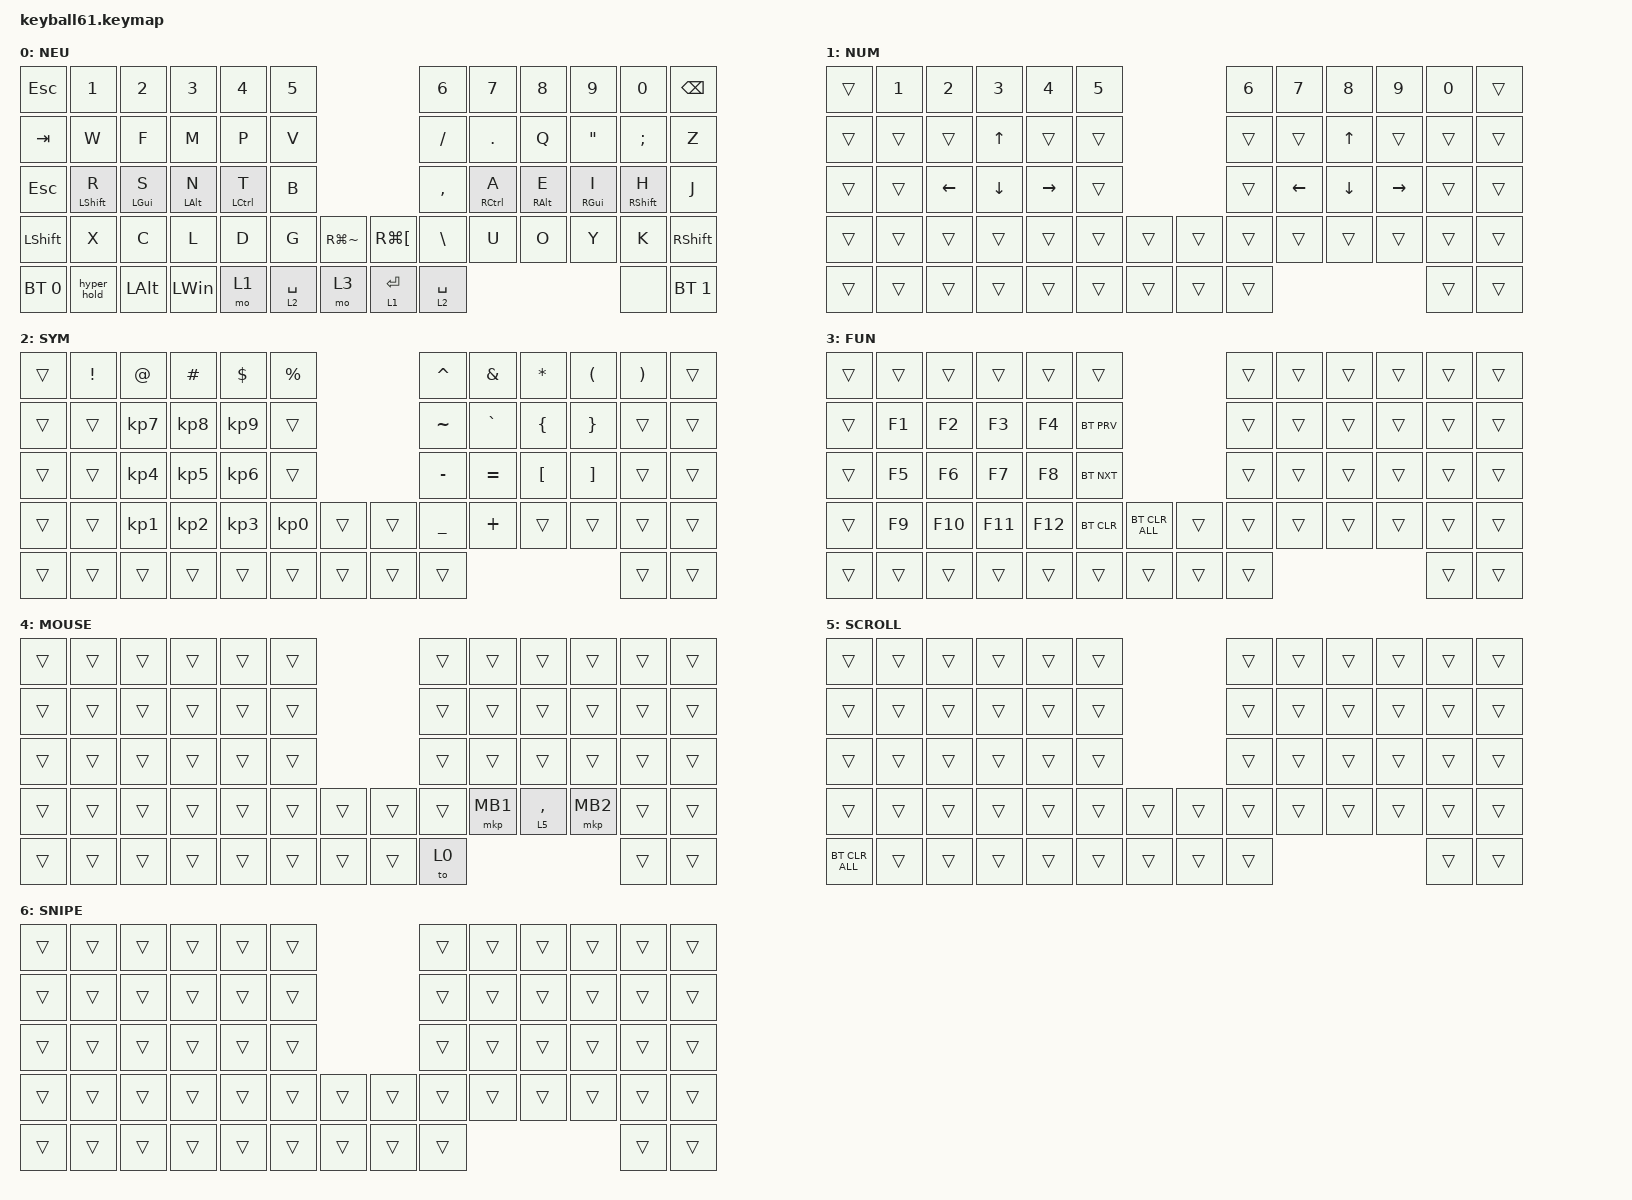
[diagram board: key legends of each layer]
#define DEFAULT 0
#define SYM     1
#define FUN     2
#define MOUSE   3 // Auto-Mouse Layer
#define SCROLL  4 // Motion Scroll Layer
#define SNIPE   5 // Snipe Mode Layer

#include <behaviors/mouse_keys.dtsi>
#include <dt-bindings/zmk/mouse.h>
#include <behaviors.dtsi>
#include <dt-bindings/zmk/bt.h>
#include <dt-bindings/zmk/keys.h>
#include <dt-bindings/zmk/pointing.h>

&lt {
    tapping-term-ms = <200>;
    flavor = "balanced";
    quick-tap-ms = <175>;
    require-prior-idle-ms = <100>;
};

&mt {
    tapping-term-ms = <200>;
    flavor = "tap-preferred";
    quick-tap-ms = <150>;
};

/ {
    combos {
        compatible = "zmk,combos";

        // NOTE: back/fwd moved off their old home-row keys — after the Neu
        // remap those positions became n+t (fwd) and a+e (back), which would
        // misfire constantly. Now on rare-bigram bottom-row pairs. Tune freely.

        fwd {
            bindings = <&kp RG(RIGHT_BRACKET)>;
            key-positions = <27 28>;   // d + g
            timeout-ms = <80>;
        };

        // Hands Down Neu keeps z and j off the main block; place them on combos.

        back {
            bindings = <&kp RG(LEFT_BRACKET)>;
            key-positions = <31 32>;
            timeout-ms = <80>;
        };

        bp {
            bindings = <&kp BACKSPACE>;
            key-positions = <32 33>;
        };

        del {
            bindings = <&kp DELETE>;
            key-positions = <27 26>;
        };
    };

    macros {
        hyper_hold: hyper_hold {
            compatible = "zmk,behavior-macro";
            #binding-cells = <0>;
            wait-ms = <0>;
            tap-ms = <0>;
            bindings =
                <&macro_press>,
                <&kp LCTRL &kp LSHFT &kp LALT &kp LGUI>,
                <&macro_pause_for_release>,
                <&macro_release>,
                <&kp LCTRL &kp LSHFT &kp LALT &kp LGUI>;
        };
    };

    behaviors {
        hmr: hmr {
            compatible = "zmk,behavior-hold-tap";
            label = "HMR";
            bindings = <&kp>, <&kp>;

            #binding-cells = <2>;
            tapping-term-ms = <280>;
            flavor = "balanced";
            quick-tap-ms = <175>;
            require-prior-idle-ms = <150>;
            hold-trigger-on-release;
            hold-trigger-key-positions = <0 1 2 3 4 5 12 13 14 15 16 17 24 25 26 27 28 29 36 37 38 39 40 41 42 50 51 52 53 54 55 56 57 58 59 60>;
        };

        hml: hml {
            compatible = "zmk,behavior-hold-tap";
            label = "HML";
            bindings = <&kp>, <&kp>;

            #binding-cells = <2>;
            tapping-term-ms = <280>;
            flavor = "balanced";
            quick-tap-ms = <175>;
            require-prior-idle-ms = <150>;
            hold-trigger-on-release;
            hold-trigger-key-positions = <6 7 8 9 10 11 18 19 20 21 22 23 30 31 32 33 34 35 43 44 45 46 47 48 49 50 51 52 54 55 56 57 58 59 60 53>;
        };

        LMB_dt: LMB_dt {
            compatible = "zmk,behavior-tap-dance";
            label = "LMB_DT";
            #binding-cells = <0>;
            bindings = <&kp J>, <&mkp MB1>;

            tapping-term-ms = <400>;
        };

        RMB_dt: RMB_dt {
            compatible = "zmk,behavior-tap-dance";
            label = "RMB_DT";
            #binding-cells = <0>;
            bindings = <&kp L>, <&mkp MB2>;

            tapping-term-ms = <400>;
        };
    };

    keymap {
        compatible = "zmk,keymap";

        default_layer {
            label = "NEU";
            bindings = <
&kp ESC         &kp N1             &kp N2           &kp N3           &kp N4        &kp N5                                            &kp N6         &kp N7        &kp N8            &kp N9            &kp N0              &kp BSPC
&kp TAB         &kp W              &kp F            &kp M            &kp P         &kp V                                             &kp FSLH       &kp DOT       &kp Q             &kp DQT           &kp SEMICOLON       &kp Z
&kp ESCAPE      &hml LEFT_SHIFT R  &hml LEFT_GUI S  &hml LEFT_ALT N  &hml LCTRL T  &kp B                                             &kp COMMA      &hmr RCTRL A  &hmr RIGHT_ALT E  &hmr RIGHT_GUI I  &hmr RIGHT_SHIFT H  &kp J
&kp LEFT_SHIFT  &kp X              &kp C            &kp L            &kp D         &kp G        &kp RG(TILDE)  &kp RG(LEFT_BRACKET)  &kp BACKSLASH  &kp U         &kp O             &kp Y             &kp K               &kp RIGHT_SHIFT
&bt BT_SEL 0    &hyper_hold        &kp LEFT_ALT     &kp LEFT_WIN     &mo 1         &lt 2 SPACE  &mo 3          &lt 1 RETURN          &lt 2 SPACE                                                      &none               &bt BT_SEL 1
            >;
        };

        number_layer {
            bindings = <
&trans  &kp N1  &kp N2          &kp N3          &kp N4     &kp N5                  &kp N6  &kp N7          &kp N8          &kp N9           &kp N0  &trans
&trans  &trans  &trans          &kp UP_ARROW    &trans     &trans                  &trans  &trans          &kp UP_ARROW    &trans           &trans  &trans
&trans  &trans  &kp LEFT_ARROW  &kp DOWN_ARROW  &kp RIGHT  &trans                  &trans  &kp LEFT_ARROW  &kp DOWN_ARROW  &kp RIGHT_ARROW  &trans  &trans
&trans  &trans  &trans          &trans          &trans     &trans  &trans  &trans  &trans  &trans          &trans          &trans           &trans  &trans
&trans  &trans  &trans          &trans          &trans     &trans  &trans  &trans  &trans                                                   &trans  &trans
            >;

            label = "NUM";
        };

        symbol_layer {
            label = "SYM";
            bindings = <
&trans  &kp EXCLAMATION  &kp AT_SIGN      &kp HASH         &kp DOLLAR       &kp PERCENT                      &kp CARET       &kp AMPERSAND  &kp ASTERISK      &kp LEFT_PARENTHESIS  &kp RIGHT_PARENTHESIS  &trans
&trans  &trans           &kp KP_NUMBER_7  &kp KP_NUMBER_8  &kp KP_NUMBER_9  &trans                           &kp TILDE       &kp GRAVE      &kp LEFT_BRACE    &kp RIGHT_BRACE       &trans                 &trans
&trans  &trans           &kp KP_NUMBER_4  &kp KP_NUMBER_5  &kp KP_NUMBER_6  &trans                           &kp MINUS       &kp EQUAL      &kp LEFT_BRACKET  &kp RIGHT_BRACKET     &trans                 &trans
&trans  &trans           &kp KP_NUMBER_1  &kp KP_NUMBER_2  &kp KP_NUMBER_3  &kp KP_NUMBER_0  &trans  &trans  &kp UNDERSCORE  &kp PLUS       &trans            &trans                &trans                 &trans
&trans  &trans           &trans           &trans           &trans           &trans           &trans  &trans  &trans                                                                 &trans                 &trans
            >;
        };

        function_layer {
            label = "FUN";
            bindings = <
&trans  &trans  &trans   &trans   &trans   &trans                              &trans  &trans  &trans  &trans  &trans  &trans
&trans  &kp F1  &kp F2   &kp F3   &kp F4   &bt BT_PRV                          &trans  &trans  &trans  &trans  &trans  &trans
&trans  &kp F5  &kp F6   &kp F7   &kp F8   &bt BT_NXT                          &trans  &trans  &trans  &trans  &trans  &trans
&trans  &kp F9  &kp F10  &kp F11  &kp F12  &bt BT_CLR  &bt BT_CLR_ALL  &trans  &trans  &trans  &trans  &trans  &trans  &trans
&trans  &trans  &trans   &trans   &trans   &trans      &trans          &trans  &trans                          &trans  &trans
            >;
        };

        mouse_layer {
            label = "MOUSE";
            bindings = <
&trans  &trans  &trans  &trans  &trans  &trans                  &trans  &trans    &trans       &trans    &trans  &trans
&trans  &trans  &trans  &trans  &trans  &trans                  &trans  &trans    &trans       &trans    &trans  &trans
&trans  &trans  &trans  &trans  &trans  &trans                  &trans  &trans    &trans       &trans    &trans  &trans
&trans  &trans  &trans  &trans  &trans  &trans  &trans  &trans  &trans  &mkp MB1  &lt 5 COMMA  &mkp MB2  &trans  &trans
&trans  &trans  &trans  &trans  &trans  &trans  &trans  &trans  &to 0                                    &trans  &trans
            >;
        };

        scroll_layer {
            label = "SCROLL";
            bindings = <
&trans          &trans  &trans  &trans  &trans  &trans                  &trans  &trans  &trans  &trans  &trans  &trans
&trans          &trans  &trans  &trans  &trans  &trans                  &trans  &trans  &trans  &trans  &trans  &trans
&trans          &trans  &trans  &trans  &trans  &trans                  &trans  &trans  &trans  &trans  &trans  &trans
&trans          &trans  &trans  &trans  &trans  &trans  &trans  &trans  &trans  &trans  &trans  &trans  &trans  &trans
&bt BT_CLR_ALL  &trans  &trans  &trans  &trans  &trans  &trans  &trans  &trans                          &trans  &trans
            >;
        };

        snipe_layer {
            label = "SNIPE";
            bindings = <
&trans  &trans  &trans  &trans  &trans  &trans                  &trans  &trans  &trans  &trans  &trans  &trans
&trans  &trans  &trans  &trans  &trans  &trans                  &trans  &trans  &trans  &trans  &trans  &trans
&trans  &trans  &trans  &trans  &trans  &trans                  &trans  &trans  &trans  &trans  &trans  &trans
&trans  &trans  &trans  &trans  &trans  &trans  &trans  &trans  &trans  &trans  &trans  &trans  &trans  &trans
&trans  &trans  &trans  &trans  &trans  &trans  &trans  &trans  &trans                          &trans  &trans
            >;
        };
    };
};
